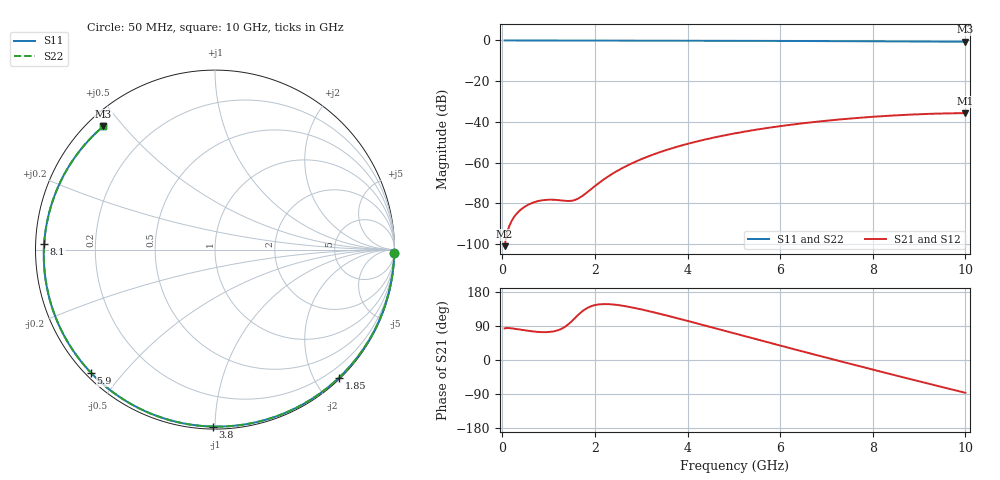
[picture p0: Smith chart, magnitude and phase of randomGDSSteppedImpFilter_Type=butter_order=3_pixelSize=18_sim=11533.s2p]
! freq	dB(S11)	phase(S11)	dB(S12)	phase(S12)
!  dB(S21)	phase(S21)	dB(S22)	phase(S22)
!S-par simulation data
#  GHz  S  DB  R 50
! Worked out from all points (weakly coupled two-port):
!   200 points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, 50 MHz to 10 GHz, reference 50 ohm
!   highest |S21| = -35.70 dB at 10 GHz (marker M1); lowest = -101.0 dB at 50 MHz (marker M2)
!   lowest |S11| = -0.7 dB at 10 GHz (marker M3), VSWR 26.35, Z = 2.27 + j22.1 ohm
!   |S11| at or under -10 dB: nowhere
!   |S22| runs from -0.7 to 0.0 dB; largest |S21 - S12| = 0
!   S11 on the Smith chart (normalised r, x): 50 MHz: 2, -93; 1.85 GHz: 0.02, -2.36; 3.8 GHz: 0.01, -0.99; 5.9 GHz: 0.02, -0.41; 8.1 GHz: 0.02, +0.02; 10 GHz: 0.05, +0.44
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0.05  -0.00 -1.2  -101.04 83.5  -101.04 83.5  -0.00 -1.2
0.6  -0.02 -15.1  -80.25 76.3  -80.25 76.3  -0.02 -15.1
0.8  -0.03 -20.2  -78.76 73.9  -78.76 73.9  -0.03 -20.2
1  -0.03 -25.1  -78.22 73.9  -78.22 73.9  -0.03 -25.1
1.5  -0.05 -37.5  -78.71 102.3  -78.71 102.3  -0.05 -37.5
1.6  -0.05 -39.9  -78.05 114.4  -78.05 114.4  -0.05 -39.9
1.75  -0.06 -43.5  -76.02 130.6  -76.02 130.6  -0.06 -43.5
1.85  -0.06 -46.0  -74.26 138.2  -74.26 138.2  -0.06 -46.0
2.2  -0.07 -54.3  -68.13 147.6  -68.13 147.6  -0.07 -54.3
2.55  -0.08 -62.5  -63.21 144.1  -63.21 144.1  -0.08 -62.5
2.95  -0.09 -71.7  -58.81 134.9  -58.81 134.9  -0.09 -71.8
3.4  -0.11 -81.9  -54.90 122.0  -54.90 122.0  -0.11 -81.9
3.8  -0.12 -90.8  -52.04 109.6  -52.04 109.6  -0.12 -90.8
4.4  -0.15 -103.7  -48.54 90.2  -48.54 90.2  -0.15 -103.7
5.05  -0.18 -117.5  -45.51 69.0  -45.51 69.0  -0.18 -117.5
5.9  -0.23 -135.2  -42.40 41.4  -42.40 41.4  -0.23 -135.2
6.7  -0.29 -151.8  -40.14 15.7  -40.14 15.7  -0.29 -151.8
7.4  -0.35 -166.5  -38.57 -6.5  -38.57 -6.5  -0.35 -166.5
8.1  -0.42 178.2  -37.34 -28.4  -37.34 -28.4  -0.42 178.2
8.35  -0.45 172.6  -36.98 -36.2  -36.98 -36.2  -0.45 172.6
9.2  -0.55 152.6  -36.07 -62.5  -36.07 -62.5  -0.55 152.6
10  -0.66 132.2  -35.70 -86.5  -35.70 -86.5  -0.66 132.2
